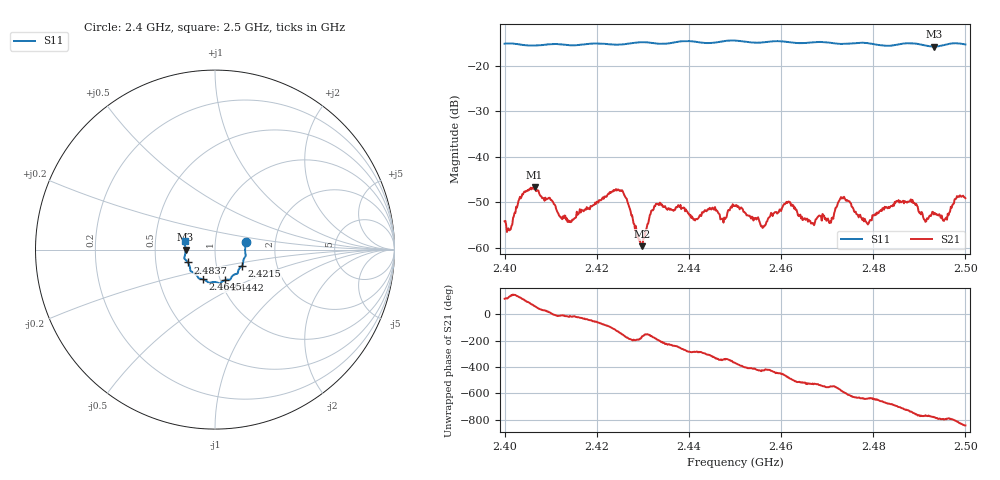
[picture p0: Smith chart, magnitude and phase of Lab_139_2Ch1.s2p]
# Hz S RI R
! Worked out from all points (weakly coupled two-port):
!   601 points, 2.4 GHz to 2.5 GHz, reference 50 ohm
!   highest |S21| = -46.74 dB at 2.4065 GHz (marker M1); lowest = -59.7 dB at 2.4298 GHz (marker M2)
!   lowest |S11| = -15.7 dB at 2.4932 GHz (marker M3), VSWR 1.39, Z = 35.9 - j0.0561 ohm
!   |S11| at or under -10 dB: start of sweep to end of sweep
!   S12 and S22 are empty: the file has one direction only
!   S11 on the Smith chart (normalised r, x): 2.4 GHz: 1.41, +0.12; 2.4215 GHz: 1.33, -0.25; 2.4442 GHz: 1.05, -0.37; 2.4645 GHz: 0.83, -0.29; 2.4837 GHz: 0.73, -0.11; 2.5 GHz: 0.71, +0.07
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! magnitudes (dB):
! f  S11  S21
! 2.4 GHz  -15.1  -54.2
! 2.4065 GHz  -15.5  -46.7
! 2.4138 GHz  -15.4  -54.0
! 2.4167 GHz  -15.3  -51.6
! 2.4215 GHz  -15.1  -49.2
! 2.4257 GHz  -15.2  -47.7
! 2.4298 GHz  -14.8  -59.7
! 2.4333 GHz  -15.1  -50.4
! 2.4442 GHz  -15.0  -51.5
! 2.4473 GHz  -14.6  -53.6
! 2.45 GHz  -14.4  -50.7
! 2.456 GHz  -14.8  -55.6
! 2.4615 GHz  -14.7  -49.9
! 2.4645 GHz  -15.0  -53.1
! 2.4667 GHz  -14.8  -54.5
! 2.4708 GHz  -14.9  -54.5
! 2.4733 GHz  -15.2  -49.0
! 2.4785 GHz  -14.9  -54.4
! 2.4833 GHz  -15.6  -51.0
! 2.4837 GHz  -15.5  -51.1
! 2.4932 GHz  -15.7  -52.7
! 2.5 GHz  -15.3  -49.1
